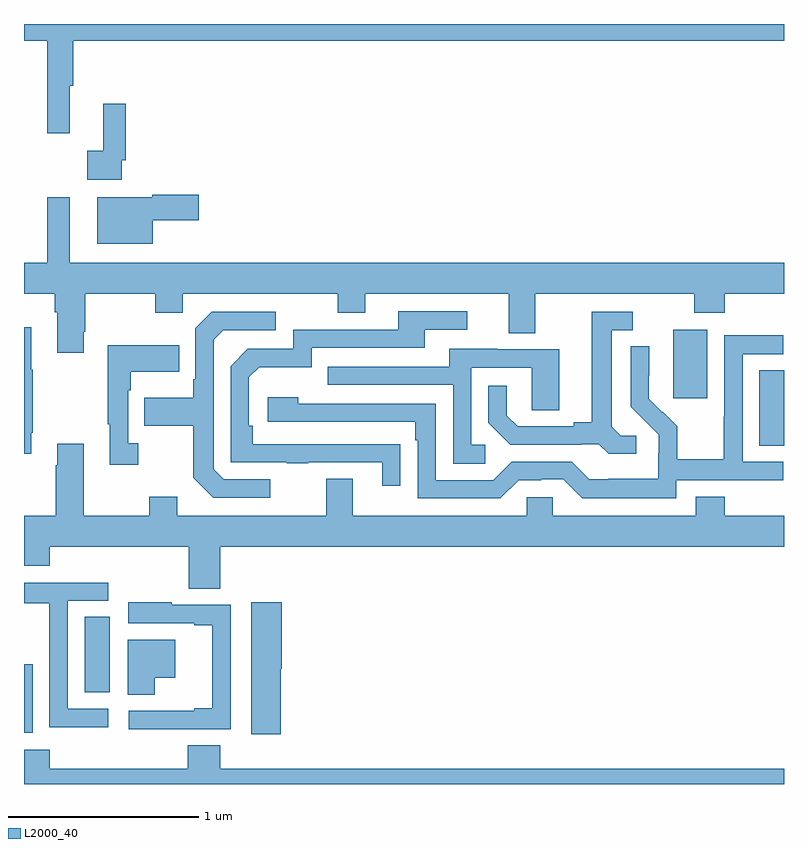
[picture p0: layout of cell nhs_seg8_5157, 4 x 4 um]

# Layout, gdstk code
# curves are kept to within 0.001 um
import gdstk
lib = gdstk.Library(unit=1e-6, precision=1e-09)
def R(c, l, rs):  # rectangles x0, y0, x1, y1
    for r in rs: c.add(gdstk.rectangle(r[:2], r[2:], *l))
def P(c, l, *ps):  # polygons
    for p in ps: c.add(gdstk.Polygon(p, *l))
L2000_40 = (2000, 40)

nhs_seg8_5157 = lib.new_cell('nhs_seg8_5157')
R(nhs_seg8_5157, L2000_40, [(421,1134.17,421.045,1134.531), (421.319,1134.382,421.45,1134.779), (424.871,1135.681,425,1136.078), (424.418,1135.929,424.597,1136.29)])
P(nhs_seg8_5157, L2000_40, [(421.241,1137.576),(421.259,1137.576),(421.259,1137.812),(425,1137.812),(425,1137.9),(421,1137.9),(421,1137.812),(421.123,1137.812),(421.123,1137.324),(421.241,1137.324)],
  [(421.515,1137.184),(421.535,1137.184),(421.535,1137.481),(421.418,1137.481),(421.418,1137.233),(421.332,1137.233),(421.332,1137.08),(421.515,1137.08)],
  [(421.678,1136.867),(421.921,1136.867),(421.921,1137.002),(421.674,1137.002),(421.674,1136.989),(421.385,1136.989),(421.385,1136.744),(421.678,1136.744)],
  [(421.315,1136.281),(421.323,1136.281),(421.323,1136.48),(421.69,1136.48),(421.69,1136.381),(421.836,1136.381),(421.836,1136.48),(422.65,1136.48),(422.65,1136.381),(422.797,1136.381),(422.797,1136.48),(423.551,1136.48),(423.551,1136.272),(423.691,1136.272),(423.691,1136.48),(424.528,1136.48),(424.528,1136.381),(424.688,1136.381),(424.688,1136.48),(425,1136.48),(425,1136.644),(421.24,1136.644),(421.24,1136.989),(421.123,1136.989),(421.123,1136.644),(421,1136.644),(421,1136.48),(421.163,1136.48),(421.163,1136.384),(421.175,1136.384),(421.175,1136.169),(421.315,1136.169)],
  [(422.981,1135.688),(422.204,1135.689),(422.204,1135.786),(422.184,1135.786),(422.184,1136.04),(422.237,1136.093),(422.514,1136.093),(422.514,1136.196),(423.109,1136.196),(423.109,1136.292),(423.334,1136.292),(423.334,1136.388),(422.969,1136.388),(422.969,1136.292),(422.418,1136.292),(422.418,1136.19),(422.178,1136.19),(422.088,1136.1),(422.088,1135.593),(422.383,1135.593),(422.383,1135.588),(422.495,1135.588),(422.495,1135.593),(422.885,1135.593),(422.885,1135.47),(422.981,1135.47)],
  [(422.296,1135.503),(422.052,1135.503),(421.998,1135.557),(421.998,1136.238),(422.049,1136.289),(422.326,1136.289),(422.326,1136.385),(421.989,1136.385),(421.902,1136.298),(421.902,1136.029),(421.89,1136.029),(421.89,1135.933),(421.633,1135.933),(421.633,1135.786),(421.89,1135.786),(421.89,1135.513),(421.995,1135.407),(422.296,1135.407)],
  [(424.222,1135.734),(424.14,1135.734),(424.093,1135.781),(424.093,1136.289),(424.204,1136.289),(424.204,1136.385),(423.989,1136.385),(423.989,1135.805),(423.893,1135.805),(423.893,1135.782),(423.598,1135.782),(423.541,1135.839),(423.541,1135.996),(423.444,1135.996),(423.444,1135.802),(423.56,1135.686),(423.932,1135.686),(423.932,1135.689),(424.026,1135.689),(424.078,1135.637),(424.222,1135.637)],
  [(421.039,1135.75),(421.047,1135.75),(421.047,1136.081),(421.039,1136.081),(421.039,1136.305),(421,1136.305),(421,1135.638),(421.039,1135.638)],
  [(424.434,1135.5),(424.996,1135.5),(424.996,1135.596),(424.782,1135.596),(424.782,1136.163),(424.996,1136.163),(424.996,1136.262),(424.686,1136.262),(424.686,1135.832),(424.684,1135.832),(424.684,1135.609),(424.439,1135.609),(424.439,1135.783),(424.362,1135.86),(424.359,1135.857),(424.289,1135.928),(424.29,1136.204),(424.194,1136.204),(424.194,1135.886),(424.34,1135.738),(424.34,1135.641),(424.338,1135.641),(424.338,1135.507),(424.075,1135.507),(424.075,1135.503),(423.975,1135.503),(423.882,1135.596),(423.567,1135.596),(423.471,1135.5),(423.168,1135.5),(423.168,1135.902),(422.444,1135.902),(422.444,1135.936),(422.283,1135.936),(422.283,1135.806),(423.059,1135.806),(423.059,1135.709),(423.072,1135.709),(423.072,1135.404),(423.507,1135.404),(423.603,1135.5),(423.722,1135.5),(423.722,1135.503),(423.837,1135.503),(423.937,1135.403),(424.434,1135.403)],
  [(421.6,1135.694),(421.548,1135.694),(421.548,1135.973),(421.561,1135.973),(421.561,1136.069),(421.817,1136.069),(421.817,1136.209),(421.44,1136.209),(421.44,1135.793),(421.451,1135.793),(421.451,1135.581),(421.6,1135.581)],
  [(423.427,1135.686),(423.354,1135.686),(423.354,1136.091),(423.672,1136.091),(423.672,1135.867),(423.817,1135.867),(423.817,1136.187),(423.493,1136.187),(423.493,1136.191),(423.239,1136.191),(423.239,1136.097),(422.599,1136.097),(422.599,1136.001),(423.258,1136.001),(423.258,1135.585),(423.427,1135.585)],
  [(422.033,1135.148),(425,1135.148),(425,1135.312),(424.688,1135.312),(424.688,1135.411),(424.535,1135.411),(424.535,1135.312),(423.783,1135.312),(423.783,1135.41),(423.645,1135.41),(423.645,1135.312),(422.731,1135.312),(422.731,1135.507),(422.591,1135.507),(422.591,1135.312),(421.807,1135.312),(421.807,1135.411),(421.66,1135.411),(421.66,1135.312),(421.315,1135.312),(421.315,1135.69),(421.175,1135.69),(421.175,1135.577),(421.168,1135.577),(421.168,1135.312),(421,1135.312),(421,1135.049),(421.136,1135.049),(421.136,1135.148),(421.867,1135.148),(421.867,1134.928),(422.033,1134.928)],
  [(421.444,1134.297),(421.23,1134.297),(421.23,1134.864),(421.444,1134.864),(421.444,1134.96),(421,1134.96),(421,1134.852),(421.132,1134.852),(421.132,1134.628),(421.134,1134.628),(421.134,1134.199),(421.444,1134.199)],
  [(421.778,1134.189),(422.088,1134.189),(422.088,1134.843),(421.778,1134.843),(421.778,1134.856),(421.548,1134.856),(421.548,1134.747),(421.895,1134.747),(421.895,1134.735),(421.991,1134.735),(421.991,1134.298),(421.895,1134.298),(421.895,1134.285),(421.551,1134.285),(421.551,1134.188),(421.778,1134.188)],
  [(422.351,1134.507),(422.356,1134.507),(422.356,1134.856),(422.195,1134.856),(422.195,1134.162),(422.351,1134.162)],
  [(421.689,1134.458),(421.795,1134.458),(421.795,1134.658),(421.547,1134.658),(421.547,1134.37),(421.689,1134.37)],
  [(425,1133.98),(422.033,1133.98),(422.033,1134.104),(421.862,1134.104),(421.862,1133.98),(421.136,1133.98),(421.136,1134.079),(421,1134.079),(421,1133.9),(425,1133.9)])

lib.write_gds('nhs_seg8_5157.gds')
